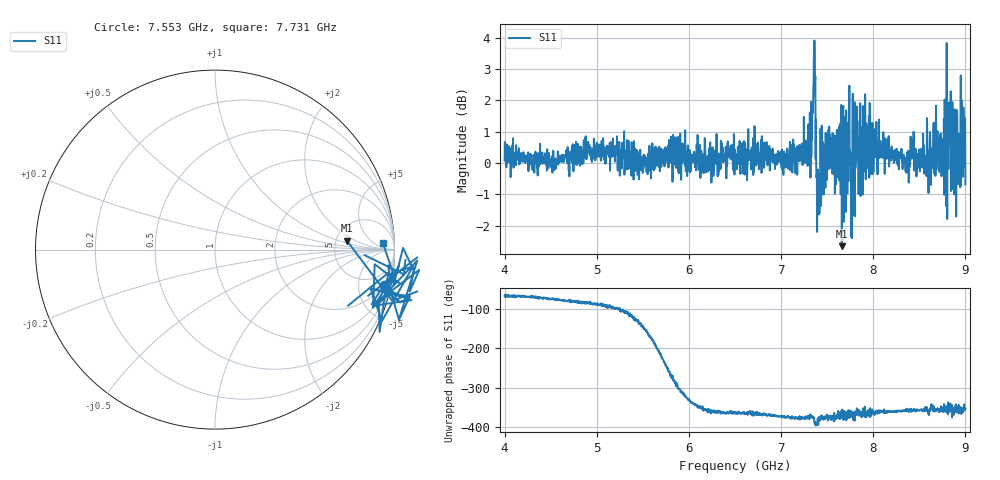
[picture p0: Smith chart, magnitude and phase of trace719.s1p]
! Created with skrf 1.8.0 (http://scikit-rf.org).
# Hz S RI R 50.0
!freq ReS11 ImS11
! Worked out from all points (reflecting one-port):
!   1601 points, 4 GHz to 9 GHz, reference 50 ohm
!   lowest |S11| = -2.7 dB at 7.659 GHz (marker M1), VSWR 6.59, Z = 315 + j67.7 ohm
!   phase of S11 starts at -66 deg and turns -288 deg over the sweep
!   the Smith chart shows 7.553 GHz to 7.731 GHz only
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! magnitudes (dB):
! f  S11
! 4 GHz  0.1
! 4.625 GHz  0.1
! 4.897 GHz  0.3
! 5.25 GHz  -0.4
! 5.875 GHz  0.0
! 6.5 GHz  0.3
! 7.125 GHz  0.2
! 7.294 GHz  0.1
! 7.347 GHz  1.8
! 7.362 GHz  3.9
! 7.4 GHz  -0.2
! 7.409 GHz  -1.6
! 7.509 GHz  0.2
! 7.591 GHz  0.6
! 7.631 GHz  -0.3
! 7.659 GHz  -2.7
! 7.75 GHz  0.2
! 7.775 GHz  1.3
! 7.828 GHz  0.4
! 7.859 GHz  1.9
! 7.928 GHz  1.1
! 8.375 GHz  0.0
! 8.428 GHz  0.3
! 8.766 GHz  1.4
! 8.822 GHz  1.9
! 8.875 GHz  0.7
! 8.972 GHz  -0.1
! 9 GHz  -0.7
